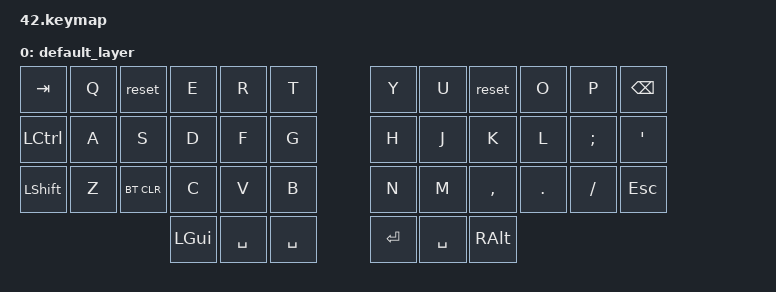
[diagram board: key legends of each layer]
/*
 * Copyright (c) 2020 The ZMK Contributors
 *
 * SPDX-License-Identifier: MIT
 */

#include <behaviors.dtsi>
#include <dt-bindings/zmk/keys.h>
#include <dt-bindings/zmk/bt.h>

/ {
        keymap {
                compatible = "zmk,keymap";

                default_layer {
// -----------------------------------------------------------------------------------------
// |  TAB |  Q  |  W  |  E  |  R  |  T  |   |  Y  |  U   |  I  |  O  |  P  | BKSP |
// | CTRL |  A  |  S  |  D  |  F  |  G  |   |  H  |  J   |  K  |  L  |  ;  |  '   |
// | SHFT |  Z  |  X  |  C  |  V  |  B  |   |  N  |  M   |  ,  |  .  |  /  | ESC  |
//                    | GUI | LWR | SPC |   | ENT | RSE  | ALT |
                        bindings = <
   &kp TAB   &kp Q &reset &kp E &kp R &kp T   &kp Y &kp U  &reset &kp O   &kp P    &kp BSPC
   &kp LCTRL &kp A &kp S &kp D &kp F &kp G   &kp H &kp J  &kp K     &kp L   &kp SEMI &kp SQT
   &kp LSHFT &kp Z &bt BT_CLR &kp C &kp V &kp B   &kp N &kp M  &kp COMMA &kp DOT &kp FSLH &kp ESC
                  &kp LGUI &kp SPACE &kp SPACE   &kp RET &kp SPACE &kp RALT
                        >;
                };
        };
};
